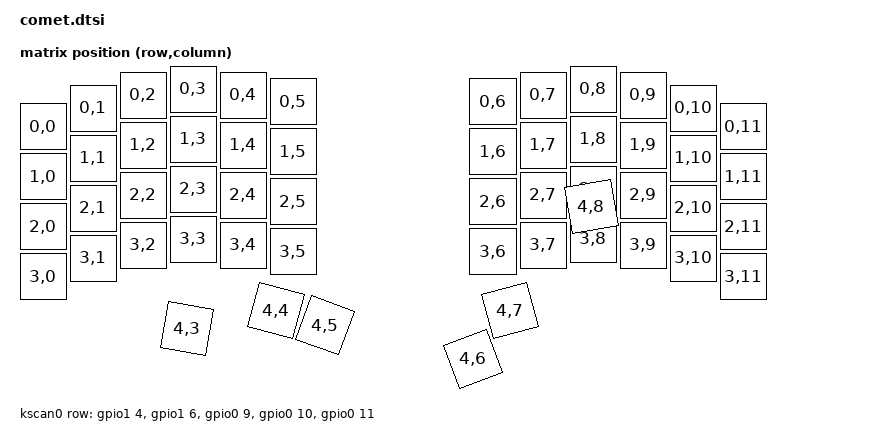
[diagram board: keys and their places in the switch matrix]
#include <dt-bindings/zmk/matrix_transform.h>
#include <physical_layouts.dtsi>
#include <zephyr/dt-bindings/input/input-event-codes.h>

/ {
    chosen {
        zmk,kscan = &kscan0;
        zmk,physical-layout = &comet_layout;
    };

    comet_layout: comet_layout {
        compatible = "zmk,physical-layout";
        display-name = "Comet";

        kscan = <&kscan0>;
        transform = <&matrix_transform0>;

        keys  //                     w   h    x    y     rot    rx    ry
            = <&key_physical_attrs 100 100    0   75       0     0     0>
            , <&key_physical_attrs 100 100  100   38       0     0     0>
            , <&key_physical_attrs 100 100  200   12       0     0     0>
            , <&key_physical_attrs 100 100  300    0       0     0     0>
            , <&key_physical_attrs 100 100  400   12       0     0     0>
            , <&key_physical_attrs 100 100  500   25       0     0     0>
            , <&key_physical_attrs 100 100  900   25       0     0     0>
            , <&key_physical_attrs 100 100 1000   12       0     0     0>
            , <&key_physical_attrs 100 100 1100    0       0     0     0>
            , <&key_physical_attrs 100 100 1200   12       0     0     0>
            , <&key_physical_attrs 100 100 1300   38       0     0     0>
            , <&key_physical_attrs 100 100 1400   75       0     0     0>
            , <&key_physical_attrs 100 100    0  175       0     0     0>
            , <&key_physical_attrs 100 100  100  138       0     0     0>
            , <&key_physical_attrs 100 100  200  112       0     0     0>
            , <&key_physical_attrs 100 100  300  100       0     0     0>
            , <&key_physical_attrs 100 100  400  112       0     0     0>
            , <&key_physical_attrs 100 100  500  125       0     0     0>
            , <&key_physical_attrs 100 100  900  125       0     0     0>
            , <&key_physical_attrs 100 100 1000  112       0     0     0>
            , <&key_physical_attrs 100 100 1100  100       0     0     0>
            , <&key_physical_attrs 100 100 1200  112       0     0     0>
            , <&key_physical_attrs 100 100 1300  138       0     0     0>
            , <&key_physical_attrs 100 100 1400  175       0     0     0>
            , <&key_physical_attrs 100 100    0  275       0     0     0>
            , <&key_physical_attrs 100 100  100  238       0     0     0>
            , <&key_physical_attrs 100 100  200  212       0     0     0>
            , <&key_physical_attrs 100 100  300  200       0     0     0>
            , <&key_physical_attrs 100 100  400  212       0     0     0>
            , <&key_physical_attrs 100 100  500  225       0     0     0>
            , <&key_physical_attrs 100 100  900  225       0     0     0>
            , <&key_physical_attrs 100 100 1000  212       0     0     0>
            , <&key_physical_attrs 100 100 1100  200       0     0     0>
            , <&key_physical_attrs 100 100 1200  212       0     0     0>
            , <&key_physical_attrs 100 100 1300  238       0     0     0>
            , <&key_physical_attrs 100 100 1400  275       0     0     0>
            , <&key_physical_attrs 100 100    0  375       0     0     0>
            , <&key_physical_attrs 100 100  100  338       0     0     0>
            , <&key_physical_attrs 100 100  200  312       0     0     0>
            , <&key_physical_attrs 100 100  300  300       0     0     0>
            , <&key_physical_attrs 100 100  400  312       0     0     0>
            , <&key_physical_attrs 100 100  500  325       0     0     0>
            , <&key_physical_attrs 100 100  900  325       0     0     0>
            , <&key_physical_attrs 100 100 1000  312       0     0     0>
            , <&key_physical_attrs 100 100 1100  300       0     0     0>
            , <&key_physical_attrs 100 100 1200  312       0     0     0>
            , <&key_physical_attrs 100 100 1300  338       0     0     0>
            , <&key_physical_attrs 100 100 1400  375       0     0     0>
            , <&key_physical_attrs 100 100  375  412    1000     0     0>
            , <&key_physical_attrs 100 100  385  423    1500   398   790>
            , <&key_physical_attrs 100 100  460  415    2000   398   790>
            , <&key_physical_attrs 100 100  940  486 (-2000)  1102   790>
            , <&key_physical_attrs 100 100 1015  423 (-1500)  1102   790>
            , <&key_physical_attrs 100 100 1030  430 (-1000)     0     0>
            ;
    };
	
    kscan0: kscan {
        compatible = "zmk,kscan-gpio-matrix";
        label = "default_kscan";
        diode-direction = "col2row";
        wakeup-source;

        row-gpios
			= <&gpio1 4 (GPIO_ACTIVE_LOW | GPIO_PULL_UP)>   // P8  - num row
            , <&gpio1 6 (GPIO_ACTIVE_LOW | GPIO_PULL_UP)>   // P9  - top row
			, <&gpio0 9 (GPIO_ACTIVE_LOW | GPIO_PULL_UP)>  // P10 - home row
			, <&gpio0 10 (GPIO_ACTIVE_LOW | GPIO_PULL_UP)>  // P1.11 (D16) - bottom row
			, <&gpio0 11 (GPIO_ACTIVE_LOW | GPIO_PULL_UP)>   // P7  - cluster row
            ;
    };

    default_transform: keymap_transform_0 {
        compatible = "zmk,matrix-transform";
        columns = <12>;
        rows = <5>;

        map = <
            RC(0,0) RC(0,1) RC(0,2) RC(0,3) RC(0,4) RC(0,5)    RC(0,6) RC(0,7) RC(0,8) RC(0,9) RC(0,10) RC(0,11)
            RC(1,0) RC(1,1) RC(1,2) RC(1,3) RC(1,4) RC(1,5)    RC(1,6) RC(1,7) RC(1,8) RC(1,9) RC(1,10) RC(1,11)
            RC(2,0) RC(2,1) RC(2,2) RC(2,3) RC(2,4) RC(2,5)    RC(2,6) RC(2,7) RC(2,8) RC(2,9) RC(2,10) RC(2,11)
            RC(3,0) RC(3,1) RC(3,2) RC(3,3) RC(3,4) RC(3,5)    RC(3,6) RC(3,7) RC(3,8) RC(3,9) RC(3,10) RC(3,11)
                                    RC(4,3) RC(4,4) RC(4,5)    RC(4,6) RC(4,7) RC(4,8)
        >;
    };

    trackballs {
		compatible = "zmk,keymap-trackballs";
		trackballs = <&trackball>;
	};
};

/* Declare the trackball */
&spi2 {
    compatible = "nordic,nrf-spim";

    trackball: trackball@0 {
        compatible = "pixart,pmw3610-alt";
        status = "disabled";
        reg = <0>;
        spi-max-frequency = <2000000>;
        irq-gpios = <&gpio0 24 (GPIO_ACTIVE_LOW | GPIO_PULL_UP)>;
        cpi = <600>;
        evt-type = <INPUT_EV_REL>;
        x-input-code = <INPUT_REL_X>;
        y-input-code = <INPUT_REL_Y>;
        /* invert-x; */
        /* invert-y; */
        /* swap-xy; */
    };
};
